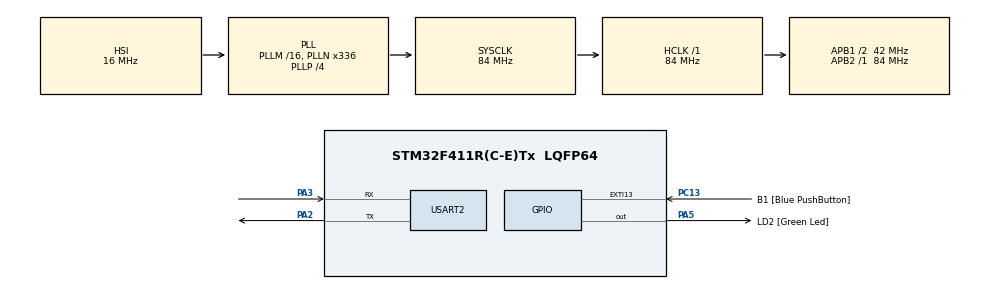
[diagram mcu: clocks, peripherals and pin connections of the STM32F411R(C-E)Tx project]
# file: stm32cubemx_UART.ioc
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Mcu.Family=STM32F4
Mcu.Name=STM32F411R(C-E)Tx
Mcu.Package=LQFP64
NVIC.PriorityGroup=NVIC_PRIORITYGROUP_0
NVIC.TIM2_IRQn=true\:0\:0\:false\:false\:true\:true\:true\:true
NVIC.USART2_IRQn=true\:0\:0\:false\:false\:true\:true\:true\:true
PA13.GPIO_Label=TMS
PA13.Mode=Serial_Wire
PA13.Signal=SYS_JTMS-SWDIO
PA14.GPIO_Label=TCK
PA14.Mode=Serial_Wire
PA14.Signal=SYS_JTCK-SWCLK
PA2.Mode=Asynchronous
PA2.Signal=USART2_TX
PA3.Mode=Asynchronous
PA3.Signal=USART2_RX
PA5.GPIO_Label=LD2 [Green Led]
PA5.Signal=GPIO_Output
PB3.GPIO_Label=SWO
PB3.Signal=SYS_JTDO-SWO
PC13-ANTI_TAMP.GPIO_Label=B1 [Blue PushButton]
PC13-ANTI_TAMP.GPIO_ModeDefaultEXTI=GPIO_MODE_IT_FALLING
PC13-ANTI_TAMP.Signal=GPXTI13
PC14-OSC32_IN.Mode=LSE-External-Oscillator
PC14-OSC32_IN.Signal=RCC_OSC32_IN
PC15-OSC32_OUT.Mode=LSE-External-Oscillator
PC15-OSC32_OUT.Signal=RCC_OSC32_OUT
PH0\ -\ OSC_IN.Mode=HSE-External-Clock-Source
PH0\ -\ OSC_IN.Signal=RCC_OSC_IN
PH1\ -\ OSC_OUT.Mode=HSE-External-Clock-Source
PH1\ -\ OSC_OUT.Signal=RCC_OSC_OUT
ProjectManager.HeapSize=0x200
ProjectManager.StackSize=0x400
ProjectManager.TargetToolchain=MDK-ARM V5.32
RCC.48MHZClocksFreq_Value=84000000
RCC.AHBFreq_Value=84000000
RCC.APB1CLKDivider=RCC_HCLK_DIV2
RCC.APB1Freq_Value=42000000
RCC.APB1TimFreq_Value=84000000
RCC.APB2Freq_Value=84000000
RCC.APB2TimFreq_Value=84000000
RCC.CortexFreq_Value=84000000
RCC.FLatency-AdvancedSettings=FLASH_LATENCY_2
RCC.HCLKFreq_Value=84000000
RCC.HSE_VALUE=8000000
RCC.HSI_VALUE=16000000
RCC.PLLN=336
RCC.PLLP=RCC_PLLP_DIV4
RCC.SYSCLKFreq_VALUE=84000000
RCC.SYSCLKSource=RCC_SYSCLKSOURCE_PLLCLK
RCC.VCOOutputFreq_Value=336000000
TIM2.Period=20999
TIM2.Prescaler=3999
USART2.VirtualMode=VM_ASYNC
VP_TIM2_VS_ClockSourceINT.Mode=Internal
board=NUCLEO-F411RE

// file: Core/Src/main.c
/* USER CODE BEGIN Header */
/**
  ******************************************************************************
  * @file           : main.c
  * @brief          : Main program body
  ******************************************************************************
  * @attention
  *
  * Copyright (c) 2023 STMicroelectronics.
  * All rights reserved.
  *
  * This software is licensed under terms that can be found in the LICENSE file
  * in the root directory of this software component.
  * If no LICENSE file comes with this software, it is provided AS-IS.
  *
  ******************************************************************************
  */
/* USER CODE END Header */
#include "main.h"

/* USER CODE BEGIN Includes */
#include <string.h>
/* USER CODE END Includes */

TIM_HandleTypeDef htim2;

UART_HandleTypeDef huart2;

/* USER CODE BEGIN PV */
	int recive_flag=0;  //当前待存放数据位置
  int count=0;        //当前剩余需处理数据个数
	uint8_t value[100];//存放接收的数据
/* USER CODE END PV */

void SystemClock_Config(void);
static void MX_GPIO_Init(void);
static void MX_TIM2_Init(void);
static void MX_USART2_UART_Init(void);

/* USER CODE BEGIN 0 */
void UART_SendByte(uint8_t data) {
  HAL_UART_Transmit(&huart2, &data, 1, 100); // 阻塞式发送，超时100ms
}

// 发送字符串（示例：发送"FPGA OK\r\n"）
void UART_SendString(char *str) {
  HAL_UART_Transmit(&huart2, (uint8_t*)str, strlen(str), 100);
}

// 发送16进制数据（如发送0xA5）
void UART_SendHex(uint8_t hex) {
  HAL_UART_Transmit(&huart2, &hex, 1, 100);
}
/* USER CODE END 0 */

int main(void)
{
  /* USER CODE BEGIN 1 */
	int send_flag=0;    //当前待发送数据位置
	char message_reset[]  ="The system will reset\r\n";
	char message_begin[]  ="The system will start\r\n";
	char message_stop[]  ="The system will stop\r\n";
  /* USER CODE END 1 */
  /* MCU Configuration--------------------------------------------------------*/

  /* Reset of all peripherals, Initializes the Flash interface and the Systick. */
  HAL_Init();
  /* Configure the system clock */
  SystemClock_Config();
  /* Initialize all configured peripherals */
  MX_GPIO_Init();
  MX_TIM2_Init();
  MX_USART2_UART_Init();
  /* Infinite loop */
  /* USER CODE BEGIN WHILE */
	count = 0;
	HAL_UART_Receive_IT(&huart2,&value[recive_flag],1);
  while (1)
  {
		 UART_SendHex(1);

    /* USER CODE END WHILE */
  }
}

void SystemClock_Config(void)
{
  RCC_OscInitTypeDef RCC_OscInitStruct = {0};
  RCC_ClkInitTypeDef RCC_ClkInitStruct = {0};

  /** Configure the main internal regulator output voltage
  */
  __HAL_RCC_PWR_CLK_ENABLE();
  __HAL_PWR_VOLTAGESCALING_CONFIG(PWR_REGULATOR_VOLTAGE_SCALE1);

  /** Initializes the RCC Oscillators according to the specified parameters
  * in the RCC_OscInitTypeDef structure.
  */
  RCC_OscInitStruct.OscillatorType = RCC_OSCILLATORTYPE_HSI;
  RCC_OscInitStruct.HSIState = RCC_HSI_ON;
  RCC_OscInitStruct.HSICalibrationValue = RCC_HSICALIBRATION_DEFAULT;
  RCC_OscInitStruct.PLL.PLLState = RCC_PLL_ON;
  RCC_OscInitStruct.PLL.PLLSource = RCC_PLLSOURCE_HSI;
  RCC_OscInitStruct.PLL.PLLM = 16;
  RCC_OscInitStruct.PLL.PLLN = 336;
  RCC_OscInitStruct.PLL.PLLP = RCC_PLLP_DIV4;
  RCC_OscInitStruct.PLL.PLLQ = 4;
  if (HAL_RCC_OscConfig(&RCC_OscInitStruct) != HAL_OK)
  {
    Error_Handler();
  }

  /** Initializes the CPU, AHB and APB buses clocks
  */
  RCC_ClkInitStruct.ClockType = RCC_CLOCKTYPE_HCLK|RCC_CLOCKTYPE_SYSCLK
                              |RCC_CLOCKTYPE_PCLK1|RCC_CLOCKTYPE_PCLK2;
  RCC_ClkInitStruct.SYSCLKSource = RCC_SYSCLKSOURCE_PLLCLK;
  RCC_ClkInitStruct.AHBCLKDivider = RCC_SYSCLK_DIV1;
  RCC_ClkInitStruct.APB1CLKDivider = RCC_HCLK_DIV2;
  RCC_ClkInitStruct.APB2CLKDivider = RCC_HCLK_DIV1;

  if (HAL_RCC_ClockConfig(&RCC_ClkInitStruct, FLASH_LATENCY_2) != HAL_OK)
  {
    Error_Handler();
  }
}

static void MX_TIM2_Init(void)
{

  TIM_ClockConfigTypeDef sClockSourceConfig = {0};
  TIM_MasterConfigTypeDef sMasterConfig = {0};

  htim2.Instance = TIM2;
  htim2.Init.Prescaler = 3999;
  htim2.Init.CounterMode = TIM_COUNTERMODE_UP;
  htim2.Init.Period = 20999;
  htim2.Init.ClockDivision = TIM_CLOCKDIVISION_DIV1;
  htim2.Init.AutoReloadPreload = TIM_AUTORELOAD_PRELOAD_DISABLE;
  if (HAL_TIM_Base_Init(&htim2) != HAL_OK)
  {
    Error_Handler();
  }
  sClockSourceConfig.ClockSource = TIM_CLOCKSOURCE_INTERNAL;
  if (HAL_TIM_ConfigClockSource(&htim2, &sClockSourceConfig) != HAL_OK)
  {
    Error_Handler();
  }
  sMasterConfig.MasterOutputTrigger = TIM_TRGO_RESET;
  sMasterConfig.MasterSlaveMode = TIM_MASTERSLAVEMODE_DISABLE;
  if (HAL_TIMEx_MasterConfigSynchronization(&htim2, &sMasterConfig) != HAL_OK)
  {
    Error_Handler();
  }

}

static void MX_USART2_UART_Init(void)
{

  huart2.Instance = USART2;
  huart2.Init.BaudRate = 9600;
  huart2.Init.WordLength = UART_WORDLENGTH_8B;
  huart2.Init.StopBits = UART_STOPBITS_1;
  huart2.Init.Parity = UART_PARITY_NONE;
  huart2.Init.Mode = UART_MODE_TX_RX;
  huart2.Init.HwFlowCtl = UART_HWCONTROL_NONE;
  huart2.Init.OverSampling = UART_OVERSAMPLING_16;
  if (HAL_UART_Init(&huart2) != HAL_OK)
  {
    Error_Handler();
  }

}

static void MX_GPIO_Init(void)
{
  GPIO_InitTypeDef GPIO_InitStruct = {0};

  /* GPIO Ports Clock Enable */
  __HAL_RCC_GPIOC_CLK_ENABLE();
  __HAL_RCC_GPIOH_CLK_ENABLE();
  __HAL_RCC_GPIOA_CLK_ENABLE();
  __HAL_RCC_GPIOB_CLK_ENABLE();

  /*Configure GPIO pin Output Level */
  HAL_GPIO_WritePin(LD2_GPIO_Port, LD2_Pin, GPIO_PIN_RESET);

  /*Configure GPIO pin : B1_Pin */
  GPIO_InitStruct.Pin = B1_Pin;
  GPIO_InitStruct.Mode = GPIO_MODE_IT_FALLING;
  GPIO_InitStruct.Pull = GPIO_NOPULL;
  HAL_GPIO_Init(B1_GPIO_Port, &GPIO_InitStruct);

  /*Configure GPIO pin : LD2_Pin */
  GPIO_InitStruct.Pin = LD2_Pin;
  GPIO_InitStruct.Mode = GPIO_MODE_OUTPUT_PP;
  GPIO_InitStruct.Pull = GPIO_NOPULL;
  GPIO_InitStruct.Speed = GPIO_SPEED_FREQ_LOW;
  HAL_GPIO_Init(LD2_GPIO_Port, &GPIO_InitStruct);

}

/* USER CODE BEGIN 4 */
// 发送单个字节

/* USER CODE END 4 */

void Error_Handler(void)
{
  __disable_irq();
  while (1)
  {
  }
}
